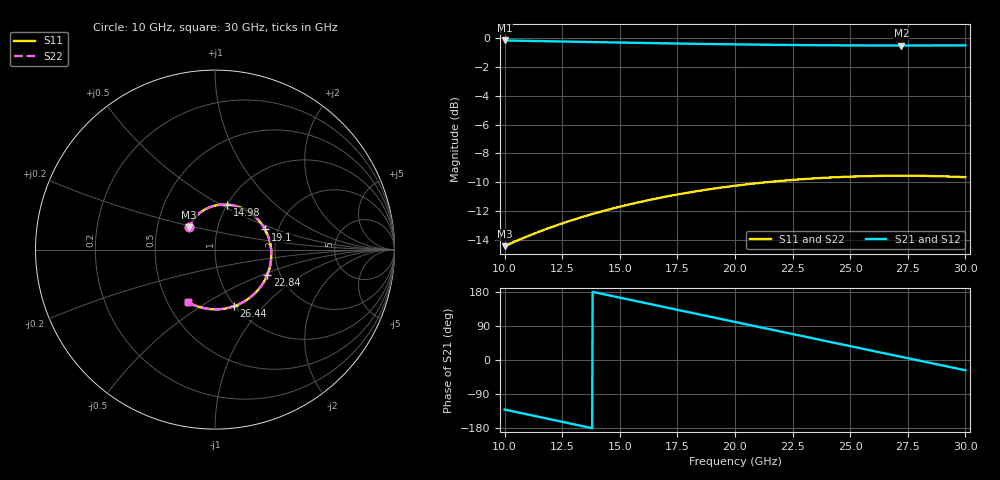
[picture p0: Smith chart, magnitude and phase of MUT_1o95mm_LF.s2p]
! TOUCHSTONE file generated by CST MICROWAVE STUDIO
! Date and time: Fri Feb  2 19:52:43 2024
! Project name: material_prueba.cst
! Header version: 2018
! Port assignment regex: !\s*Touchstone port\s*([0-9]+)\s*=\s*(CST MWS port|CST DS port)\s*([0-9]+|Zmin|Zmax)\s*\(\"(.*)\"\)(\s*mode\s*([0-9]+))?.*
! Touchstone port assignment:
! Touchstone port 1 = CST MWS port 1 ("")
! Touchstone port 2 = CST MWS port 2 ("")
# GHz S MA R 376.7
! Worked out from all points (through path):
!   1001 points, 10 GHz to 30 GHz, reference 376.7 ohm
!   highest |S21| = -0.16 dB at 10 GHz (marker M1); lowest = -0.5 dB at 27.22 GHz (marker M2)
!   group delay of S21, straight-line fit = 35.6 ps
!   lowest |S11| = -14.4 dB at 10 GHz (marker M3), VSWR 1.47, Z = 274 + j70.5 ohm
!   |S11| at or under -10 dB: start of sweep to 21.37 GHz
!   |S22| runs from -14.4 to -9.5 dB; largest |S21 - S12| = 1.9e-05
!   S11 on the Smith chart (normalised r, x): 10 GHz: 0.73, +0.19; 14.98 GHz: 1.00, +0.54; 19.1 GHz: 1.71, +0.42; 22.84 GHz: 1.71, -0.54; 26.44 GHz: 0.99, -0.70; 30 GHz: 0.63, -0.42
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10  0.1896 139.2  0.9819 -130.8  0.9819 -130.8  0.1896 139.2
10.76  0.2017 129.4  0.9794 -140.6  0.9795 -140.6  0.2017 129.4
11.74  0.2165 116.7  0.9763 -153.3  0.9763 -153.3  0.2165 116.7
12.54  0.2281 106.3  0.9736 -163.7  0.9736 -163.7  0.2281 106.3
13.34  0.2391 95.9  0.971 -174.1  0.971 -174.1  0.2391 95.9
14.16  0.2497 85.4  0.9683 175.4  0.9683 175.4  0.2497 85.4
14.98  0.2598 74.8  0.9657 164.8  0.9657 164.8  0.2598 74.8
15.82  0.2694 64.0  0.963 154.0  0.963 154.0  0.2694 64.0
16.68  0.2786 52.9  0.9604 142.9  0.9604 142.9  0.2786 52.9
17.92  0.2906 37.0  0.9568 127.0  0.9568 127.0  0.2906 37.0
19.1  0.3006 21.9  0.9537 111.9  0.9537 111.9  0.3006 21.9
20  0.3074 10.4  0.9516 100.4  0.9516 100.4  0.3074 10.4
20.7  0.3121 1.4  0.95 91.4  0.95 91.4  0.3121 1.4
21.4  0.3164 -7.5  0.9486 82.5  0.9486 82.5  0.3164 -7.5
22.84  0.3236 -25.9  0.9462 64.1  0.9462 64.1  0.3236 -25.9
23.34  0.3256 -32.3  0.9455 57.7  0.9455 57.7  0.3256 -32.3
24.96  0.3305 -52.9  0.9438 37.1  0.9438 37.1  0.3305 -52.9
26.44  0.3327 -71.8  0.943 18.2  0.943 18.2  0.3327 -71.8
26.68  0.3329 -74.8  0.943 15.2  0.943 15.2  0.3329 -74.8
27.22  0.3331 -81.7  0.9429 8.3  0.9429 8.3  0.3331 -81.7
28.58  0.3322 -99.0  0.9432 -9.0  0.9432 -9.0  0.3322 -99.0
30  0.3292 -117.1  0.9443 -27.1  0.9443 -27.1  0.3292 -117.1
